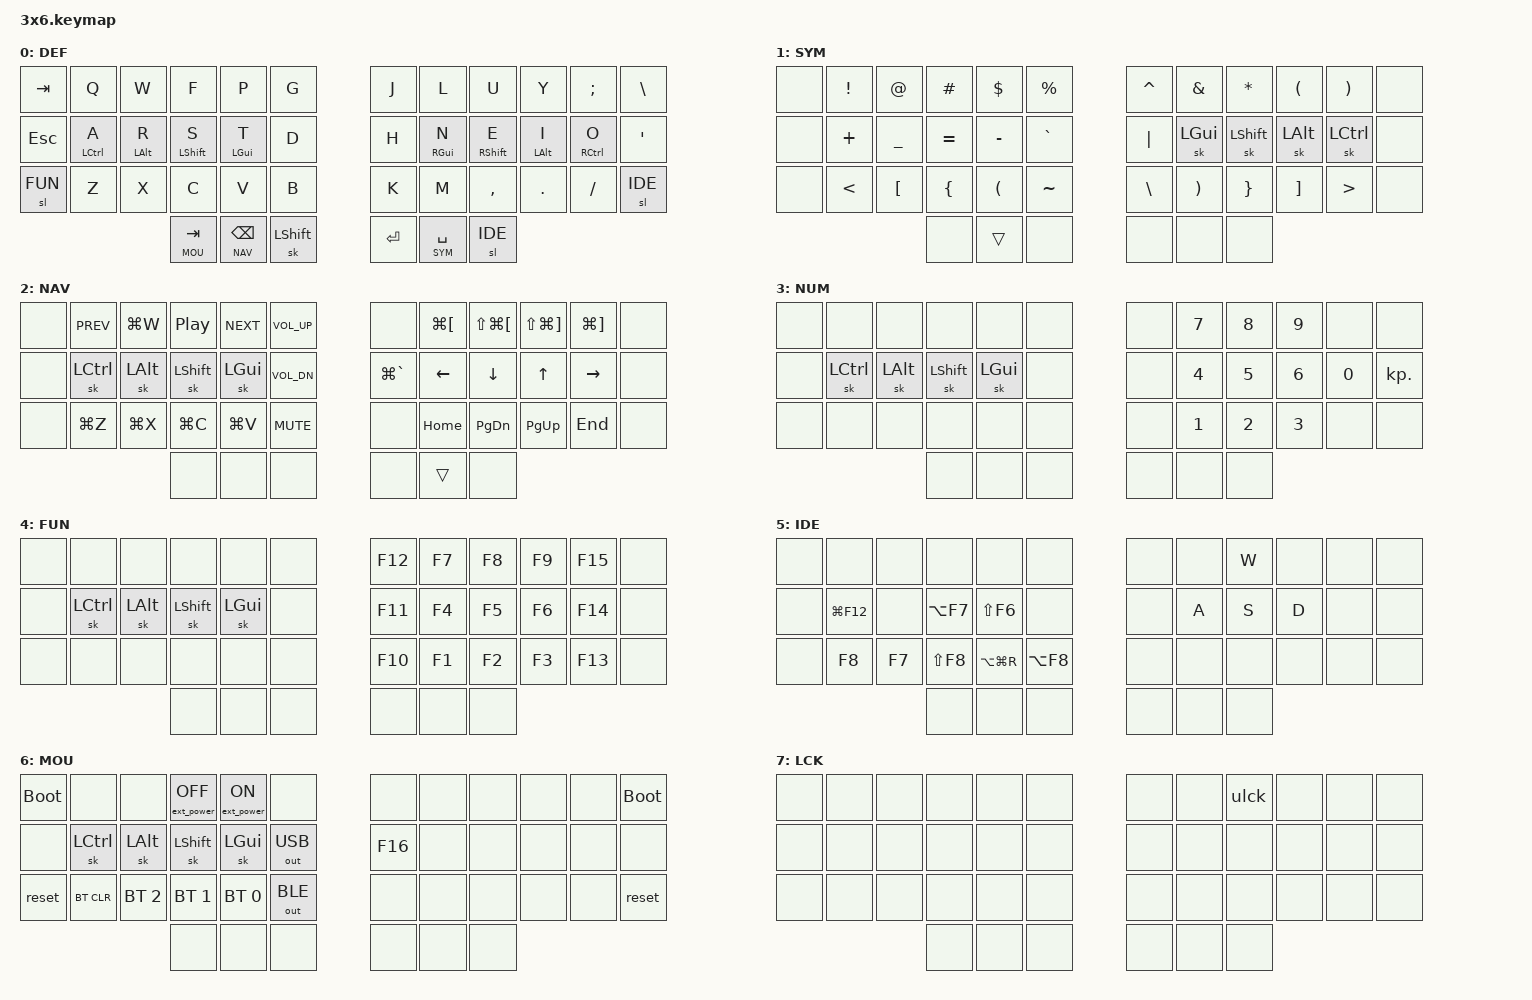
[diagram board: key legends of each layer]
/*
 * Copyright (c) 2020 The ZMK Contributors
 *
 * SPDX-License-Identifier: MIT
 */

#include <behaviors.dtsi>
#include <dt-bindings/zmk/keys.h>
#include <dt-bindings/zmk/bt.h>
#include <dt-bindings/zmk/ext_power.h>
#include <dt-bindings/zmk/outputs.h>

// Layer aliases
#define DEF 0
#define SYM 1
#define NAV 2
#define NUM 3
#define FUN 4
#define IDE 5
#define MOU 6
#define LCK 7

// Define shortcuts
#define VIMAC    LG(LS(LA(LC(F))))
#define EMOJ     LG(LC(SPACE))
#define ALFR     LG(SPACE)
#define CTXS     LA(TAB)
#define HIST_BK  LG(LBKT)
#define HIST_FW  LG(RBKT)
#define TAB_LT   LS(LG(LBKT))
#define TAB_RT   LS(LG(RBKT))
#define APP_WIN  LG(GRAVE)
#define HYPER    LG(LS(LA(LCTRL)))
#define MEH      LS(LA(LCTRL))

// IJ shortcuts
#define CLS_METH LG(F12)
#define FIND_USE LA(F7)
#define RENAME   LS(F6)
#define DBG_OVER F8
#define DBG_IN   F7
#define DBG_OUT  LS(F8)
#define DBG_RES  LA(LG(R))
#define DBG_EVAL LA(F8)

&mt {
    flavor = "balanced";
    tapping-term-ms = <175>;
};

&lt {
    flavor = "balanced";
    tapping-term-ms = <175>;
};

&sk {
    release-after-ms = <5000>;
};

&sl {
    release-after-ms = <5000>;
};

&caps_word {
    continue-list = <UNDERSCORE MINUS BSPC DEL N1 N2 N3 N4 N5 N6 N7 N8 N9 N0>;
};

/ {
    combos {
        #include "combos.dtsi"
    };

    conditional_layers {
        compatible = "zmk,conditional-layers";
        tri_layer {
            if-layers = <NAV SYM>;
            then-layer = <NUM>;
        };
    };

    behaviors {
        ulck: tap_dance_0 {
            compatible = "zmk,behavior-tap-dance";
            label = "td_unlock";
            #binding-cells = <0>;
            tapping-term-ms = <150>;
            bindings = <&none>, <&to DEF>;
        };
    };

    keymap {
        compatible = "zmk,keymap";

        default_layer {
            label = "DEF";
            bindings = <
// ╭─────────────┬─────────────┬─────────────┬─────────────┬─────────────┬─────────────╮   ╭─────────────┬─────────────┬─────────────┬─────────────┬─────────────┬─────────────╮
     &kp TAB       &kp Q         &kp W         &kp F         &kp P         &kp G             &kp J         &kp L         &kp U         &kp Y         &kp SEMI      &kp BSLH
// ├─────────────┼─────────────┼─────────────┼─────────────┼─────────────┼─────────────┤   ├─────────────┼─────────────┼─────────────┼─────────────┼─────────────┼─────────────┤
     &kp ESC       &mt LCTRL A   &mt LALT R    &mt LSHFT S   &mt LGUI T    &kp D             &kp H         &mt RGUI N    &mt RSHFT E   &mt LALT I    &mt RCTRL O   &kp APOS
// ├─────────────┼─────────────┼─────────────┼─────────────┼─────────────┼─────────────┤   ├─────────────┼─────────────┼─────────────┼─────────────┼─────────────┼─────────────┤
     &sl FUN       &kp Z         &kp X         &kp C         &kp V         &kp B             &kp K         &kp M         &kp COMMA     &kp DOT       &kp FSLH      &sl IDE 
// ╰─────────────┴─────────────┴─────────────┼─────────────┼─────────────┼─────────────┤   ├─────────────┼─────────────┼─────────────┼─────────────┴─────────────┴─────────────╯
                                               &lt MOU TAB   &lt NAV BSPC  &sk LSHFT         &kp RET       &lt SYM SPACE &sl IDE 
//                                           ╰─────────────┴─────────────┴─────────────╯   ╰─────────────┴─────────────┴─────────────╯
            >;
        };

        layer_symbols {
            label = "SYM";
            bindings = <
// ╭─────────────┬─────────────┬─────────────┬─────────────┬─────────────┬─────────────╮   ╭─────────────┬─────────────┬─────────────┬─────────────┬─────────────┬─────────────╮
     &none         &kp EXCL      &kp AT        &kp HASH      &kp DLLR      &kp PRCNT         &kp CARET     &kp AMPS      &kp STAR      &kp LPAR      &kp RPAR      &none
// ├─────────────┼─────────────┼─────────────┼─────────────┼─────────────┼─────────────┤   ├─────────────┼─────────────┼─────────────┼─────────────┼─────────────┼─────────────┤
     &none         &kp PLUS      &kp UNDER     &kp EQUAL     &kp MINUS     &kp GRAVE         &kp PIPE      &sk LGUI      &sk LSHFT     &sk LALT      &sk LCTRL     &none
// ├─────────────┼─────────────┼─────────────┼─────────────┼─────────────┼─────────────┤   ├─────────────┼─────────────┼─────────────┼─────────────┼─────────────┼─────────────┤
     &none         &kp LT        &kp LBKT      &kp LBRC      &kp LPAR      &kp TILDE         &kp BSLH      &kp RPAR      &kp RBRC      &kp RBKT      &kp GT        &none
// ╰─────────────┴─────────────┴─────────────┼─────────────┼─────────────┼─────────────┤   ├─────────────┼─────────────┼─────────────┼─────────────┴─────────────┴─────────────╯
                                               &none         &trans        &none             &none         &none         &none
//                                           ╰─────────────┴─────────────┴─────────────╯   ╰─────────────┴─────────────┴─────────────╯
            >;
        };

        layer_nav {
            label = "NAV";            
            bindings = <
// ╭─────────────┬─────────────┬─────────────┬─────────────┬─────────────┬─────────────╮   ╭─────────────┬─────────────┬─────────────┬─────────────┬─────────────┬─────────────╮
     &none         &kp C_PREV    &kp LG(W)     &kp C_PP      &kp C_NEXT    &kp C_VOL_UP      &none         &kp HIST_BK   &kp TAB_LT    &kp TAB_RT    &kp HIST_FW   &none
// ├─────────────┼─────────────┼─────────────┼─────────────┼─────────────┼─────────────┤   ├─────────────┼─────────────┼─────────────┼─────────────┼─────────────┼─────────────┤
     &none         &sk LCTRL     &sk LALT      &sk LSHFT     &sk LGUI      &kp C_VOL_DN      &kp APP_WIN   &kp LEFT      &kp DOWN      &kp UP        &kp RIGHT     &none
// ├─────────────┼─────────────┼─────────────┼─────────────┼─────────────┼─────────────┤   ├─────────────┼─────────────┼─────────────┼─────────────┼─────────────┼─────────────┤
     &none         &kp LG(Z)     &kp LG(X)     &kp LG(C)     &kp LG(V)     &kp C_MUTE        &none         &kp HOME      &kp PG_DN     &kp PG_UP     &kp END       &none
// ╰─────────────┴─────────────┴─────────────┼─────────────┼─────────────┼─────────────┤   ├─────────────┼─────────────┼─────────────┼─────────────┴─────────────┴─────────────╯
                                               &none         &none         &none             &none         &trans        &none
//                                           ╰─────────────┴─────────────┴─────────────╯   ╰─────────────┴─────────────┴─────────────╯
            >;
        };

        layer_num {
            label = "NUM";
            bindings = <
// ╭─────────────┬─────────────┬─────────────┬─────────────┬─────────────┬─────────────╮   ╭─────────────┬─────────────┬─────────────┬─────────────┬─────────────┬─────────────╮
     &none         &none         &none         &none         &none         &none             &none         &kp N7        &kp N8        &kp N9        &none         &none
// ├─────────────┼─────────────┼─────────────┼─────────────┼─────────────┼─────────────┤   ├─────────────┼─────────────┼─────────────┼─────────────┼─────────────┼─────────────┤
     &none         &sk LCTRL     &sk LALT      &sk LSHFT     &sk LGUI      &none             &none         &kp N4        &kp N5        &kp N6        &kp N0        &kp KP_DOT
// ├─────────────┼─────────────┼─────────────┼─────────────┼─────────────┼─────────────┤   ├─────────────┼─────────────┼─────────────┼─────────────┼─────────────┼─────────────┤
     &none         &none         &none         &none         &none         &none             &none         &kp N1        &kp N2        &kp N3        &none         &none
// ╰─────────────┴─────────────┴─────────────┼─────────────┼─────────────┼─────────────┤   ├─────────────┼─────────────┼─────────────┼─────────────┴─────────────┴─────────────╯
                                               &none         &none         &none             &none         &none         &none
//                                           ╰─────────────┴─────────────┴─────────────╯   ╰─────────────┴─────────────┴─────────────╯
            >;
        };

        layer_fun {
            label = "FUN";
            bindings = <
// ╭─────────────┬─────────────┬─────────────┬─────────────┬─────────────┬─────────────╮   ╭─────────────┬─────────────┬─────────────┬─────────────┬─────────────┬─────────────╮
     &none         &none         &none         &none         &none         &none             &kp F12       &kp F7        &kp F8        &kp F9        &kp F15       &none
// ├─────────────┼─────────────┼─────────────┼─────────────┼─────────────┼─────────────┤   ├─────────────┼─────────────┼─────────────┼─────────────┼─────────────┼─────────────┤
     &none         &sk LCTRL     &sk LALT      &sk LSHFT     &sk LGUI      &none             &kp F11       &kp F4        &kp F5        &kp F6        &kp F14       &none
// ├─────────────┼─────────────┼─────────────┼─────────────┼─────────────┼─────────────┤   ├─────────────┼─────────────┼─────────────┼─────────────┼─────────────┼─────────────┤
     &none         &none         &none         &none         &none         &none             &kp F10       &kp F1        &kp F2        &kp F3        &kp F13       &none
// ╰─────────────┴─────────────┴─────────────┼─────────────┼─────────────┼─────────────┤   ├─────────────┼─────────────┼─────────────┼─────────────┴─────────────┴─────────────╯
                                               &none         &none         &none             &none         &none         &none
//                                           ╰─────────────┴─────────────┴─────────────╯   ╰─────────────┴─────────────┴─────────────╯
            >;
        };

        layer_macro {
            label = "IDE";
            bindings = <
// ╭─────────────┬─────────────┬─────────────┬─────────────┬─────────────┬─────────────╮   ╭─────────────┬─────────────┬─────────────┬─────────────┬─────────────┬─────────────╮
     &none         &none         &none         &none         &none         &none             &none         &none         &kp W         &none         &none         &none
// ├─────────────┼─────────────┼─────────────┼─────────────┼─────────────┼─────────────┤   ├─────────────┼─────────────┼─────────────┼─────────────┼─────────────┼─────────────┤
     &none         &kp CLS_METH  &none         &kp FIND_USE  &kp RENAME    &none             &none         &kp A         &kp S         &kp D         &none         &none
// ├─────────────┼─────────────┼─────────────┼─────────────┼─────────────┼─────────────┤   ├─────────────┼─────────────┼─────────────┼─────────────┼─────────────┼─────────────┤
     &none         &kp DBG_OVER  &kp DBG_IN    &kp DBG_OUT   &kp DBG_RES   &kp DBG_EVAL      &none         &none         &none         &none         &none         &none
// ╰─────────────┴─────────────┴─────────────┼─────────────┼─────────────┼─────────────┤   ├─────────────┼─────────────┼─────────────┼─────────────┴─────────────┴─────────────╯
                                               &none         &none         &none             &none         &none         &none
//                                           ╰─────────────┴─────────────┴─────────────╯   ╰─────────────┴─────────────┴─────────────╯
            >;
        };

        layer_mouse {
            label = "MOU";
            bindings = <
// ╭─────────────┬─────────────┬─────────────┬─────────────┬─────────────┬─────────────╮   ╭─────────────┬─────────────┬─────────────┬─────────────┬─────────────┬─────────────╮
     &bootloader   &none         &none      &ext_power EP_OFF &ext_power EP_ON  &none        &none         &none         &none         &none         &none         &bootloader
// ├─────────────┼─────────────┼─────────────┼─────────────┼─────────────┼─────────────┤   ├─────────────┼─────────────┼─────────────┼─────────────┼─────────────┼─────────────┤
     &none         &sk LCTRL     &sk LALT      &sk LSHFT     &sk LGUI      &out OUT_USB      &kp F16       &none         &none         &none         &none         &none
// ├─────────────┼─────────────┼─────────────┼─────────────┼─────────────┼─────────────┤   ├─────────────┼─────────────┼─────────────┼─────────────┼─────────────┼─────────────┤
     &reset        &bt BT_CLR    &bt BT_SEL 2  &bt BT_SEL 1  &bt BT_SEL 0  &out OUT_BLE      &none         &none         &none         &none         &none         &reset
// ╰─────────────┴─────────────┴─────────────┼─────────────┼─────────────┼─────────────┤   ├─────────────┼─────────────┼─────────────┼─────────────┴─────────────┴─────────────╯
                                               &none         &none         &none             &none         &none         &none
//                                           ╰─────────────┴─────────────┴─────────────╯   ╰─────────────┴─────────────┴─────────────╯
            >;        
        };

        layer_lockout {
            label = "LCK";
            bindings = <
// ╭─────────────┬─────────────┬─────────────┬─────────────┬─────────────┬─────────────╮   ╭─────────────┬─────────────┬─────────────┬─────────────┬─────────────┬─────────────╮
     &none         &none         &none         &none         &none         &none             &none         &none         &ulck         &none         &none         &none
// ├─────────────┼─────────────┼─────────────┼─────────────┼─────────────┼─────────────┤   ├─────────────┼─────────────┼─────────────┼─────────────┼─────────────┼─────────────┤
     &none         &none         &none         &none         &none         &none             &none         &none         &none         &none         &none         &none
// ├─────────────┼─────────────┼─────────────┼─────────────┼─────────────┼─────────────┤   ├─────────────┼─────────────┼─────────────┼─────────────┼─────────────┼─────────────┤
     &none         &none         &none         &none         &none         &none             &none         &none         &none         &none         &none         &none
// ╰─────────────┴─────────────┴─────────────┼─────────────┼─────────────┼─────────────┤   ├─────────────┼─────────────┼─────────────┼─────────────┴─────────────┴─────────────╯
                                               &none         &none         &none             &none         &none         &none
//                                           ╰─────────────┴─────────────┴─────────────╯   ╰─────────────┴─────────────┴─────────────╯
            >;        
        };

//        layer_blank  {
//            label = "BLA";
//            bindings = <
//// ╭─────────────┬─────────────┬─────────────┬─────────────┬─────────────┬─────────────╮   ╭─────────────┬─────────────┬─────────────┬─────────────┬─────────────┬─────────────╮
//     &none         &none         &none         &none         &none         &none             &none         &none         &none         &none         &none         &none
//// ├─────────────┼─────────────┼─────────────┼─────────────┼─────────────┼─────────────┤   ├─────────────┼─────────────┼─────────────┼─────────────┼─────────────┼─────────────┤
//     &none         &none         &none         &none         &none         &none             &none         &none         &none         &none         &none         &none
//// ├─────────────┼─────────────┼─────────────┼─────────────┼─────────────┼─────────────┤   ├─────────────┼─────────────┼─────────────┼─────────────┼─────────────┼─────────────┤
//     &none         &none         &none         &none         &none         &none             &none         &none         &none         &none         &none         &none
//// ╰─────────────┴─────────────┴─────────────┼─────────────┼─────────────┼─────────────┤   ├─────────────┼─────────────┼─────────────┼─────────────┴─────────────┴─────────────╯
//                                               &none         &none         &none             &none         &none         &none
////                                           ╰─────────────┴─────────────┴─────────────╯   ╰─────────────┴─────────────┴─────────────╯
//            >;        
//        };

    };
};
